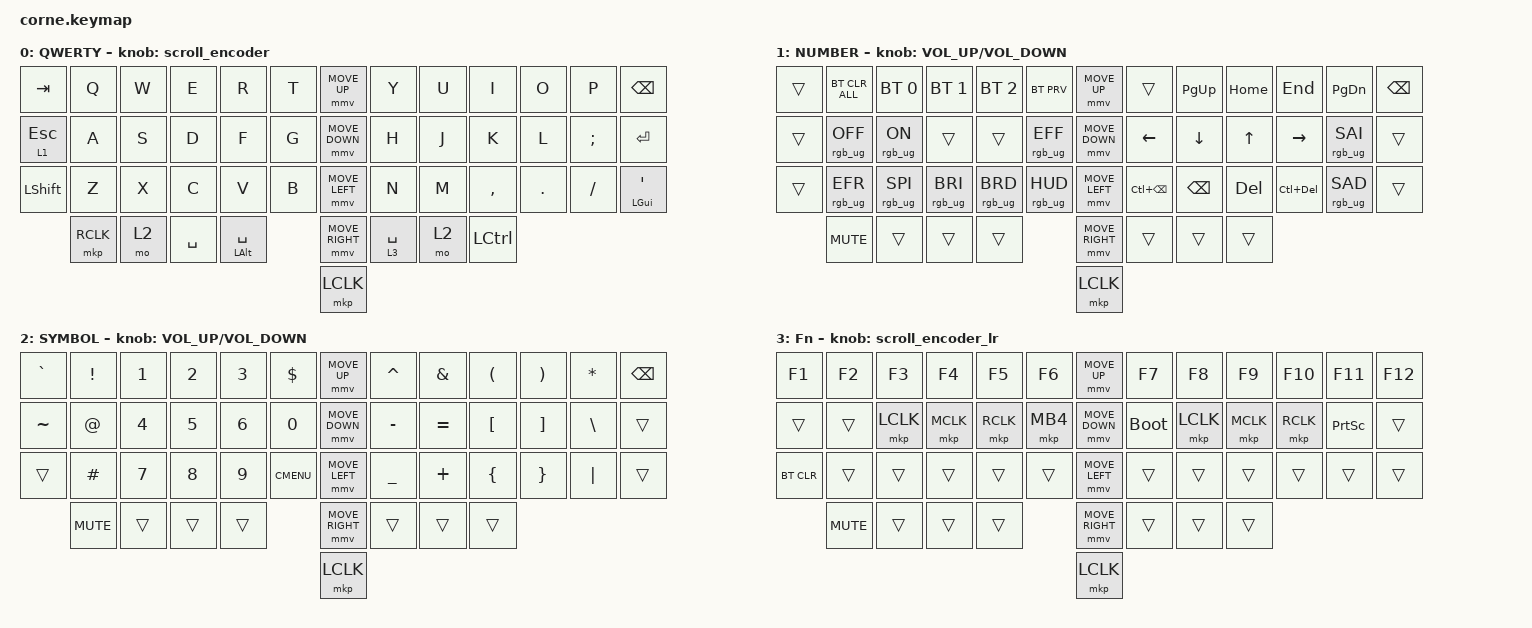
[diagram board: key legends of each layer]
#include <behaviors/mouse_keys.dtsi>
#include <behaviors.dtsi>
#include <dt-bindings/zmk/bt.h>
#include <dt-bindings/zmk/keys.h>
#include <dt-bindings/zmk/mouse.h>
#include <dt-bindings/zmk/outputs.h>
#include <dt-bindings/zmk/rgb.h>

#define ZMK_MOUSE_DEFAULT_MOVE_VAL 1200  // 600
#define ZMK_MOUSE_DEFAULT_SCRL_VAL 20    // 10
#define U_MS_U &mmv MOVE_UP
#define U_MS_D &mmv MOVE_DOWN
#define U_MS_L &mmv MOVE_LEFT
#define U_MS_R &mmv MOVE_RIGHT

/ {
    behaviors {
        td0: td0 {
            compatible = "zmk,behavior-tap-dance";
            label = "TD0";
            #binding-cells = <0>;
            bindings = <&kp LEFT_SHIFT>, <&kp CAPS>;
        };

        mmv {
            acceleration-exponent = <1>;      // 1
            time-to-max-speed-ms = <500>;    // 40
            delay-ms = <0>;                   // 0
        };

        msc {
            acceleration-exponent = <1>;      // 0
            time-to-max-speed-ms = <400>;      // 500
            delay-ms = <0>;                   // 10
        };
    };

    rgb_encoder: rgb_encoder {
        compatible = "zmk,behavior-sensor-rotate";
        label = "RGB_ENCODER";
        #sensor-binding-cells = <0>;
        bindings = <&rgb_ug RGB_BRI>, <&rgb_ug RGB_BRD>;
    };

    scroll_encoder: scroll_encoder {
        compatible = "zmk,behavior-sensor-rotate";
        #sensor-binding-cells = <0>;
        bindings = <&msc MOVE_UP>, <&msc MOVE_DOWN>;
        tap-ms = <30>;
    };

    scroll_encoder_lr: scroll_encoder_lr {
        compatible = "zmk,behavior-sensor-rotate";
        #sensor-binding-cells = <0>;
        bindings = <&msc MOVE_RIGHT>, <&msc MOVE_LEFT>;
        tap-ms = <30>;
    };


    keymap {
        compatible = "zmk,keymap";

        default_layer {
            display-name = "QWERTY";

            // --------------------------------------------------------------------------------
            // |  TAB |  Q  |  W  |  E  |  R  |  T  |                ↑    |  Y  |  U   |  I  |  O  |  P  | BKSP |      &kp UP_ARROW
            // | SHIFT |  A  |  S  |  D  |  F  |  G  |               ↓    |  H  |  J   |  K  |  L  |  ;  |  '   |
            // | CTRL |  Z  |  X  |  C  |  V  |  B  |                ←    |  N  |  M   |  ,  |  .  |  /  | ESC  |
            //                    | GUI | LWR | SPC |                →    | ENT | RSE  | ALT |
            //                                                      enter

            bindings = <
&kp TAB         &kp Q  &kp W  &kp E  &kp R      &kp T              &mmv MOVE_UP     &kp Y        &kp U  &kp I      &kp O    &kp P     &kp BSPC
&lt 1 ESC       &kp A  &kp S  &kp D  &kp F      &kp G              &mmv MOVE_DOWN   &kp H        &kp J  &kp K      &kp L    &kp SEMI  &kp ENTER
&kp LEFT_SHIFT  &kp Z  &kp X  &kp C  &kp V      &kp B              &mmv MOVE_LEFT   &kp N        &kp M  &kp COMMA  &kp DOT  &kp FSLH  &mt LEFT_GUI SQT
                &mkp RCLK    &mo 2  &kp SPACE  &mt LEFT_ALT SPACE  &mmv MOVE_RIGHT    &lt 3 SPACE  &mo 2  &kp LCTRL
                                                                   &mkp LCLK
            >;

            label = "QWERTY";
            sensor-bindings = <&scroll_encoder>;
        };

        lower_layer {
            display-name = "NUMBER";

            // -----------------------------------------------------------------------------------------
            // |  TAB |  1  |  2  |  3  |  4  |  5  |   |  6  |  7  |  8  |  9  |  0  | BKSP |
            // | BTCLR| BT1 | BT2 | BT3 | BT4 | BT5 |   | LFT | DWN |  UP | RGT |     |      |
            // | SHFT |     |     |     |     |     |   |     |     |     |     |     |      |
            //                    | GUI |     | SPC |   | ENT |     | ALT |

            bindings = <
&trans  &bt BT_CLR_ALL   &bt BT_SEL 0     &bt BT_SEL 1     &bt BT_SEL 2                      &bt BT_PRV                     &mmv MOVE_UP         &trans             &kp PAGE_UP    &kp HOME  &kp END      &kp PAGE_DOWN    &kp BSPC
&trans  &rgb_ug RGB_OFF  &rgb_ug RGB_ON   &trans           &trans                            &rgb_ug RGB_EFF                &mmv MOVE_DOWN       &kp LEFT           &kp DOWN       &kp UP    &kp RIGHT    &rgb_ug RGB_SAI  &trans
&trans  &rgb_ug RGB_EFR  &rgb_ug RGB_SPI  &rgb_ug RGB_BRI  &rgb_ug RGB_BRD                   &rgb_ug RGB_HUD                &mmv MOVE_LEFT       &kp LC(BACKSPACE)  &kp BACKSPACE  &kp DEL   &kp LC(DEL)  &rgb_ug RGB_SAD  &trans
                         &kp C_MUTE       &trans           &trans                            &trans                         &mmv MOVE_RIGHT      &trans             &trans         &trans
                                                                                                                            &mkp LCLK
            >;

            label = "NUMBER";
            sensor-bindings = <&inc_dec_kp C_VOLUME_UP C_VOLUME_DOWN>;
        };

        raise_layer {
            display-name = "SYMBOL";

            // -----------------------------------------------------------------------------------------
            // |  TAB |  !  |  @  |  #  |  $  |  %  |   |  ^  |  &  |  *  |  (  |  )  | BKSP |
            // | CTRL |     |     |     |     |     |   |  -  |  =  |  [  |  ]  |  \  |  `   |
            // | SHFT |     |     |     |     |     |   |  _  |  +  |  {  |  }  | "|" |  ~   |
            //                    | GUI |     | SPC |   | ENT |     | ALT |

            bindings = <
&kp GRAVE  &kp EXCL  &kp NUMBER_1  &kp NUMBER_2  &kp NUMBER_3  &kp DOLLAR    &mmv MOVE_UP   &kp CARET  &kp AMPS   &kp LPAR  &kp RPAR  &kp ASTERISK  &kp BSPC
&kp TILDE  &kp AT    &kp NUMBER_4  &kp NUMBER_5  &kp NUMBER_6  &kp NUMBER_0  &mmv MOVE_DOWN   &kp MINUS  &kp EQUAL  &kp LBKT  &kp RBKT  &kp BSLH      &trans
&trans     &kp HASH  &kp NUMBER_7  &kp NUMBER_8  &kp NUMBER_9  &kp K_CMENU   &mmv MOVE_LEFT   &kp UNDER  &kp PLUS   &kp LBRC  &kp RBRC  &kp PIPE      &trans
                     &kp C_MUTE    &trans        &trans        &trans        &mmv MOVE_RIGHT   &trans     &trans     &trans
                                                                             &mkp LCLK
            >;

            label = "SYMBOL";
            sensor-bindings = <&inc_dec_kp C_VOLUME_UP C_VOLUME_DOWN>;
        };

        layer_3 {
            display-name = "Fn";
            bindings = <
&kp F1        &kp F2  &kp F3  &kp F4  &kp F5      &kp F6      &mmv MOVE_UP   &kp F7       &kp F8  &kp F9  &kp F10  &kp F11       &kp F12
&trans        &trans      &mkp LCLK   &mkp MCLK    &mkp RCLK  &mkp MB4    &mmv MOVE_DOWN   &bootloader  &mkp LCLK  &mkp MCLK    &mkp RCLK   &kp PRINTSCREEN  &trans
&bt BT_CLR    &trans  &trans  &trans  &trans      &trans      &mmv MOVE_LEFT   &trans       &trans  &trans  &trans   &trans        &trans
            &kp C_MUTE        &trans      &trans      &trans  &mmv MOVE_RIGHT        &trans       &trans  &trans
                                                              &mkp LCLK
            >;

            label = "FN";
            sensor-bindings = <&scroll_encoder_lr>;
        };
    };
};
